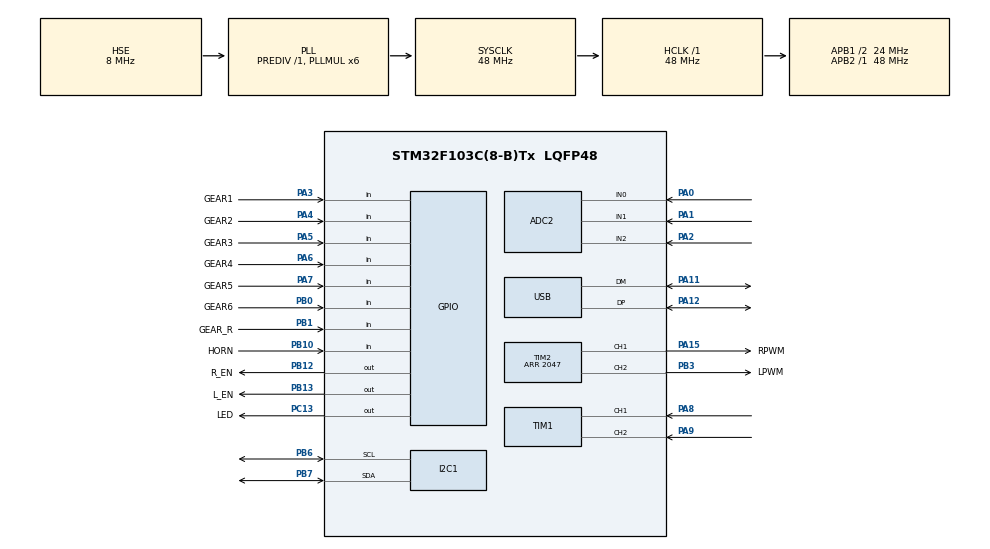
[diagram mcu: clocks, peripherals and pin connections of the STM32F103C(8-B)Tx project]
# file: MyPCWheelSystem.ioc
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ADC2.Channel-1\#ChannelInjectedConversion=ADC_CHANNEL_0
ADC2.Channel-2\#ChannelInjectedConversion=ADC_CHANNEL_1
ADC2.Channel-3\#ChannelInjectedConversion=ADC_CHANNEL_2
ADC2.EnableInjectedConversion=ENABLE
ADC2.EnableRegularConversion=DISABLE
ADC2.InjNumberOfConversion=3
ADC2.InjectedOffset-1\#ChannelInjectedConversion=0
ADC2.InjectedOffset-2\#ChannelInjectedConversion=0
ADC2.InjectedOffset-3\#ChannelInjectedConversion=0
ADC2.Rank-1\#ChannelInjectedConversion=1
ADC2.Rank-2\#ChannelInjectedConversion=2
ADC2.Rank-3\#ChannelInjectedConversion=3
ADC2.SamplingTime-1\#ChannelInjectedConversion=ADC_SAMPLETIME_1CYCLE_5
ADC2.SamplingTime-2\#ChannelInjectedConversion=ADC_SAMPLETIME_1CYCLE_5
ADC2.SamplingTime-3\#ChannelInjectedConversion=ADC_SAMPLETIME_1CYCLE_5
Mcu.Family=STM32F1
Mcu.Name=STM32F103C(8-B)Tx
Mcu.Package=LQFP48
NVIC.PriorityGroup=NVIC_PRIORITYGROUP_4
NVIC.USB_LP_CAN1_RX0_IRQn=true\:0\:0\:false\:false\:true\:false\:true\:true
PA0-WKUP.Signal=ADCx_IN0
PA1.Signal=ADCx_IN1
PA11.Mode=Device
PA11.Signal=USB_DM
PA12.Mode=Device
PA12.Signal=USB_DP
PA13.Mode=Serial_Wire
PA13.Signal=SYS_JTMS-SWDIO
PA14.Mode=Serial_Wire
PA14.Signal=SYS_JTCK-SWCLK
PA15.GPIO_Label=RPWM
PA15.Signal=S_TIM2_CH1_ETR
PA2.Signal=ADCx_IN2
PA3.GPIO_Label=GEAR1
PA3.GPIO_PuPd=GPIO_PULLUP
PA3.Signal=GPIO_Input
PA4.GPIO_Label=GEAR2
PA4.GPIO_PuPd=GPIO_PULLUP
PA4.Signal=GPIO_Input
PA5.GPIO_Label=GEAR3
PA5.GPIO_PuPd=GPIO_PULLUP
PA5.Signal=GPIO_Input
PA6.GPIO_Label=GEAR4
PA6.GPIO_PuPd=GPIO_PULLUP
PA6.Signal=GPIO_Input
PA7.GPIO_Label=GEAR5
PA7.GPIO_PuPd=GPIO_PULLUP
PA7.Signal=GPIO_Input
PA8.Signal=S_TIM1_CH1
PA9.Signal=S_TIM1_CH2
PB0.GPIO_Label=GEAR6
PB0.GPIO_PuPd=GPIO_PULLUP
PB0.Signal=GPIO_Input
PB1.GPIO_Label=GEAR_R
PB1.GPIO_PuPd=GPIO_PULLUP
PB1.Signal=GPIO_Input
PB10.GPIO_Label=HORN
PB10.GPIO_PuPd=GPIO_PULLUP
PB10.Signal=GPIO_Input
PB12.GPIO_Label=R_EN
PB12.Signal=GPIO_Output
PB13.GPIO_Label=L_EN
PB13.Signal=GPIO_Output
PB3.GPIO_Label=LPWM
PB3.Signal=S_TIM2_CH2
PB6.GPIO_Pu=GPIO_PULLUP
PB6.Mode=I2C
PB6.Signal=I2C1_SCL
PB7.GPIO_Pu=GPIO_PULLUP
PB7.Mode=I2C
PB7.Signal=I2C1_SDA
PC13-TAMPER-RTC.GPIO_Label=LED
PC13-TAMPER-RTC.Signal=GPIO_Output
PD0-OSC_IN.Mode=HSE-External-Oscillator
PD0-OSC_IN.Signal=RCC_OSC_IN
PD1-OSC_OUT.Mode=HSE-External-Oscillator
PD1-OSC_OUT.Signal=RCC_OSC_OUT
ProjectManager.HeapSize=0x200
ProjectManager.StackSize=0x400
ProjectManager.TargetToolchain=STM32CubeIDE
RCC.ADCPresc=RCC_ADCPCLK2_DIV4
RCC.AHBFreq_Value=48000000
RCC.APB1CLKDivider=RCC_HCLK_DIV2
RCC.APB1Freq_Value=24000000
RCC.APB1TimFreq_Value=48000000
RCC.APB2Freq_Value=48000000
RCC.APB2TimFreq_Value=48000000
RCC.HCLKFreq_Value=48000000
RCC.PLLMUL=RCC_PLL_MUL6
RCC.SYSCLKFreq_VALUE=48000000
RCC.SYSCLKSource=RCC_SYSCLKSOURCE_PLLCLK
RCC.USBFreq_Value=48000000
SH.ADCx_IN0.0=ADC2_IN0,IN0
SH.ADCx_IN1.0=ADC2_IN1,IN1
SH.ADCx_IN2.0=ADC2_IN2,IN2
SH.S_TIM1_CH1.0=TIM1_CH1,Encoder_Interface
SH.S_TIM1_CH2.0=TIM1_CH2,Encoder_Interface
SH.S_TIM2_CH1_ETR.0=TIM2_CH1,PWM Generation1 CH1
SH.S_TIM2_CH2.0=TIM2_CH2,PWM Generation2 CH2
TIM1.EncoderMode=TIM_ENCODERMODE_TI12
TIM1.IC1Filter=10
TIM2.Channel-PWM\ Generation1\ CH1=TIM_CHANNEL_1
TIM2.Channel-PWM\ Generation2\ CH2=TIM_CHANNEL_2
TIM2.Period=2047
USB_DEVICE.CLASS_NAME_FS=CUSTOM_HID
USB_DEVICE.MANUFACTURER_STRING=Andreas Erfurt
USB_DEVICE.VirtualMode=CustomHid
USB_DEVICE.VirtualModeFS=Custom_Hid_FS
VP_TIM2_VS_ClockSourceINT.Mode=Internal
VP_USB_DEVICE_VS_USB_DEVICE_CUSTOM_HID_FS.Mode=CUSTOM_HID_FS
board=custom

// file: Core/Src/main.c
/* USER CODE BEGIN Header */
/**
  ******************************************************************************
  * @file           : main.c
  * @brief          : Main program body
  ******************************************************************************
  * @attention
  *
  * <h2><center>&copy; Copyright (c) 2021 STMicroelectronics.
  * All rights reserved.</center></h2>
  *
  * This software component is licensed by ST under Ultimate Liberty license
  * SLA0044, the "License"; You may not use this file except in compliance with
  * the License. You may obtain a copy of the License at:
  *                             www.st.com/SLA0044
  *
  ******************************************************************************
  */

//										                	NACH JEDER ÄNDERUNG DER IOC-DATEI DIE WERTE IN usbd_conf.h KORRIGIEREN!!!

/* USER CODE END Header */
#include "main.h"
#include "adc.h"
#include "i2c.h"
#include "tim.h"
#include "usb_device.h"
#include "gpio.h"

/* USER CODE BEGIN Includes */
#include "usbd_customhid.h"
#include "pcf8574events.h"
#include "forcefeedback.h"
/* USER CODE END Includes */

/* USER CODE BEGIN PV */
//volatile char btn_action = 0;
//volatile char gear1 = 0;

extern USBD_HandleTypeDef hUsbDeviceFS;
extern TIM_HandleTypeDef htim1;
extern TIM_HandleTypeDef htim2;
extern ADC_HandleTypeDef hadc2;
extern I2C_HandleTypeDef hi2c1;
/* USER CODE END PV */

void SystemClock_Config(void);
/* USER CODE BEGIN PFP */
int16_t xToDegree(int x);
uint16_t degreeToX(int16_t degree);
void initLED(void);
void toggleLED(void);
/* USER CODE END PFP */

int main(void)
{
  /* USER CODE BEGIN 1 */
	struct pc_wheel_report_t
	{
		uint8_t report_id;

		uint8_t wheelX_LO;
		uint8_t wheelX_HI;

		uint8_t accelRx_LO;
		uint8_t accelRx_HI;

		uint8_t brakeRy_LO;
		uint8_t brakeRy_HI;

		uint8_t clutchRz_LO;
		uint8_t clutchRz_HI;

		uint8_t buttons_1;
		uint8_t buttons_2;
	};

	uint16_t wheelValue = 0;

	uint16_t gasdata_origin = 0;
	uint16_t brakedata_origin = 0;
	uint16_t clutchdata_origin = 0;
	uint16_t gasdata = 0;  // 12 bit adc
	uint16_t brakedata = 0;  // 12 bit adc
	uint16_t clutchdata = 0;  // 12 bit adc

	uint8_t pcf_data = 0x00;
	uint8_t pcf_data_old = 0x00;
	uint8_t wiper = 0;
	uint8_t wiper_old = 0;
	uint8_t wiper_increment = 0;

  /* USER CODE END 1 */

  /* MCU Configuration--------------------------------------------------------*/

  /* Reset of all peripherals, Initializes the Flash interface and the Systick. */
  HAL_Init();

  /* USER CODE BEGIN Init */
  initLED();
  /* USER CODE END Init */

  /* Configure the system clock */
  SystemClock_Config();

  /* Initialize all configured peripherals */
  MX_GPIO_Init();
  MX_USB_DEVICE_Init();
  MX_ADC2_Init();
  MX_TIM1_Init();
  MX_TIM2_Init();
  MX_I2C1_Init();
  /* USER CODE BEGIN 2 */
//  SET_BIT(GPIOC->ODR, GPIO_ODR_ODR13);

  struct pc_wheel_report_t myPCWheelReport;
  myPCWheelReport.report_id = 0x01;
  myPCWheelReport.wheelX_LO = 0;
  myPCWheelReport.wheelX_HI = 0;
  myPCWheelReport.accelRx_LO = 0;
  myPCWheelReport.accelRx_HI = 0;
  myPCWheelReport.brakeRy_LO = 0;
  myPCWheelReport.brakeRy_HI = 0;
  myPCWheelReport.clutchRz_LO = 0;
  myPCWheelReport.clutchRz_HI = 0;
  myPCWheelReport.buttons_1 = 0;
  myPCWheelReport.buttons_2 = 0;

  HAL_TIM_Encoder_Start(&htim1, TIM_CHANNEL_ALL);  // Timer für Lenkrad-Encoder

  TIM1->CNT = 5000;  // Encoder Reset Mittelpunkt

  // Gas, Bremse, Kupplung Reset
  HAL_ADCEx_InjectedStart(&hadc2);
  HAL_ADCEx_InjectedPollForConversion(&hadc2, 100);
  gasdata_origin = HAL_ADCEx_InjectedGetValue(&hadc2, ADC_INJECTED_RANK_1);
  brakedata_origin = HAL_ADCEx_InjectedGetValue(&hadc2, ADC_INJECTED_RANK_2);
  clutchdata_origin = HAL_ADCEx_InjectedGetValue(&hadc2, ADC_INJECTED_RANK_3);
  HAL_ADCEx_InjectedStop(&hadc2);

  // PCF8574 auf 0 setzen
  HAL_I2C_Master_Transmit(&hi2c1, 0x20 << 1, &pcf_data, 1, 200);

  // FFB initialisieren
  HAL_TIM_PWM_Start(&htim2, TIM_CHANNEL_1); // PWM aktivieren
  HAL_TIM_PWM_Start(&htim2, TIM_CHANNEL_2);
  ffb_init();
  /* USER CODE END 2 */

  /* Infinite loop */
  while (1)
  {

    /* USER CODE BEGIN 3 */

	  // Lenkrad

	  wheelValue = (uint16_t) TIM1->CNT;

	  if (wheelValue > 35000)
		  wheelValue = 0;
	  if (wheelValue > 10000 && wheelValue <= 35000)
		  wheelValue = 10000;

	  myPCWheelReport.wheelX_LO = LOBYTE(wheelValue);
	  myPCWheelReport.wheelX_HI = HIBYTE(wheelValue);

	  // Gas, Bremse, Kupplung
	  HAL_ADCEx_InjectedStart(&hadc2);
	  HAL_ADCEx_InjectedPollForConversion(&hadc2, 100);

	  gasdata = gasdata_origin - (uint16_t) HAL_ADCEx_InjectedGetValue(&hadc2, ADC_INJECTED_RANK_1);
	  brakedata = (uint16_t) HAL_ADCEx_InjectedGetValue(&hadc2, ADC_INJECTED_RANK_2) - brakedata_origin;
	  clutchdata = clutchdata_origin - (uint16_t) HAL_ADCEx_InjectedGetValue(&hadc2, ADC_INJECTED_RANK_3);

	  if (gasdata > 6000)
		  gasdata = 0;
	  if (brakedata > 6000)
		  brakedata = 0;
	  if (clutchdata > 6000)
		  clutchdata = 0;

	  gasdata *= 1.6;
	  brakedata *= 2;
	  clutchdata *=2.6;

	  HAL_ADCEx_InjectedStop(&hadc2);

//	  gasdata *= 1.5;
//	  clutchdata *= 2;

	  myPCWheelReport.accelRx_LO = LOBYTE(gasdata);
	  myPCWheelReport.accelRx_HI = HIBYTE(gasdata);
	  myPCWheelReport.brakeRy_LO = LOBYTE(brakedata);
	  myPCWheelReport.brakeRy_HI = HIBYTE(brakedata);
	  myPCWheelReport.clutchRz_LO = LOBYTE(clutchdata);
	  myPCWheelReport.clutchRz_HI = HIBYTE(clutchdata);

	  // Blinker, Fernlicht, Scheibenwischer
	  reset_highbeam_blinker_wiper_buttons(&myPCWheelReport.buttons_2);
	  HAL_I2C_Master_Receive(&hi2c1, 0x20 << 1, &pcf_data, 1, 200);
	  repair_pcf8574(&pcf_data, &hi2c1);
	  set_highbeam_blinker_buttons(&myPCWheelReport.buttons_2, pcf_data, pcf_data_old);
	  wiper = get_wiper(pcf_data);
	  pcf_data_old = pcf_data;
	  set_wiper_buttons(&myPCWheelReport.buttons_2, wiper, &wiper_old, &wiper_increment);

	  // Gänge
	  myPCWheelReport.buttons_1 = ~(HAL_GPIO_ReadPin(GEAR1_GPIO_Port, GEAR1_Pin) << 0
			              | HAL_GPIO_ReadPin(GEAR2_GPIO_Port, GEAR2_Pin) << 1
						  | HAL_GPIO_ReadPin(GEAR3_GPIO_Port, GEAR3_Pin) << 2
						  | HAL_GPIO_ReadPin(GEAR4_GPIO_Port, GEAR4_Pin) << 3
						  | HAL_GPIO_ReadPin(GEAR5_GPIO_Port, GEAR5_Pin) << 4
						  | HAL_GPIO_ReadPin(GEAR6_GPIO_Port, GEAR6_Pin) << 5
						  | HAL_GPIO_ReadPin(GEAR_R_GPIO_Port, GEAR_R_Pin) << 6
						  | HAL_GPIO_ReadPin(HORN_GPIO_Port, HORN_Pin) << 7);

	  USBD_CUSTOM_HID_SendReport(&hUsbDeviceFS, (uint8_t*) &myPCWheelReport, sizeof(myPCWheelReport));
	  HAL_Delay(25);

	  ffb_play_effects();
  }  // end while loop
  /* USER CODE END 3 */
}

void SystemClock_Config(void)
{
  RCC_OscInitTypeDef RCC_OscInitStruct = {0};
  RCC_ClkInitTypeDef RCC_ClkInitStruct = {0};
  RCC_PeriphCLKInitTypeDef PeriphClkInit = {0};

  /** Initializes the RCC Oscillators according to the specified parameters
  * in the RCC_OscInitTypeDef structure.
  */
  RCC_OscInitStruct.OscillatorType = RCC_OSCILLATORTYPE_HSE;
  RCC_OscInitStruct.HSEState = RCC_HSE_ON;
  RCC_OscInitStruct.HSEPredivValue = RCC_HSE_PREDIV_DIV1;
  RCC_OscInitStruct.HSIState = RCC_HSI_ON;
  RCC_OscInitStruct.PLL.PLLState = RCC_PLL_ON;
  RCC_OscInitStruct.PLL.PLLSource = RCC_PLLSOURCE_HSE;
  RCC_OscInitStruct.PLL.PLLMUL = RCC_PLL_MUL6;
  if (HAL_RCC_OscConfig(&RCC_OscInitStruct) != HAL_OK)
  {
    Error_Handler();
  }
  /** Initializes the CPU, AHB and APB buses clocks
  */
  RCC_ClkInitStruct.ClockType = RCC_CLOCKTYPE_HCLK|RCC_CLOCKTYPE_SYSCLK
                              |RCC_CLOCKTYPE_PCLK1|RCC_CLOCKTYPE_PCLK2;
  RCC_ClkInitStruct.SYSCLKSource = RCC_SYSCLKSOURCE_PLLCLK;
  RCC_ClkInitStruct.AHBCLKDivider = RCC_SYSCLK_DIV1;
  RCC_ClkInitStruct.APB1CLKDivider = RCC_HCLK_DIV2;
  RCC_ClkInitStruct.APB2CLKDivider = RCC_HCLK_DIV1;

  if (HAL_RCC_ClockConfig(&RCC_ClkInitStruct, FLASH_LATENCY_1) != HAL_OK)
  {
    Error_Handler();
  }
  PeriphClkInit.PeriphClockSelection = RCC_PERIPHCLK_ADC|RCC_PERIPHCLK_USB;
  PeriphClkInit.AdcClockSelection = RCC_ADCPCLK2_DIV4;
  PeriphClkInit.UsbClockSelection = RCC_USBCLKSOURCE_PLL;
  if (HAL_RCCEx_PeriphCLKConfig(&PeriphClkInit) != HAL_OK)
  {
    Error_Handler();
  }
}

/* USER CODE BEGIN 4 */

int16_t xToDegree(int x)    // x: -2^31...2^31-1, degree: -450...450
{
	return (int16_t) (x * 0.01373 - 450);         // denn 900/65535 = 0,01373
}

uint16_t degreeToX(int16_t degree)    // degree: -2^15...2^15-1, x: 0...65535
{
	return (uint16_t) ((degree + 450) * 72.81667);        // denn 65535/900 = 72,81667
}

void initLED(void)
{
	SET_BIT(RCC->APB2ENR, RCC_APB2ENR_IOPCEN);          //enable IO port C clock

	CLEAR_BIT(GPIOC->CRH, GPIO_CRH_CNF13_1);          //General purpose output push-pull
	CLEAR_BIT(GPIOC->CRH, GPIO_CRH_CNF13_0);

	SET_BIT(GPIOC->CRH, GPIO_CRH_MODE13_1);           //output mode, max speed 2 MHz
	CLEAR_BIT(GPIOC->CRH, GPIO_CRH_MODE13_0);

	SET_BIT(GPIOC->ODR, GPIO_ODR_ODR13);             //LED off
}

void toggleLED(void)
{
	if(READ_BIT(GPIOC->ODR, GPIO_ODR_ODR13) == 0)
	{
		SET_BIT(GPIOC->ODR, GPIO_ODR_ODR13);
	}
	else
	{
		CLEAR_BIT(GPIOC->ODR, GPIO_ODR_ODR13);
	}
}

//void HAL_GPIO_EXTI_Callback(uint16_t GPIO_Pin)
//{
//	if(GPIO_Pin == GEAR1_Pin)
//	{
//		if(!btn_action)
//		{
//			btn_action = 1;
//			__HAL_TIM_SET_COUNTER(&htim2, 0);
//		}
//	}
//}

//void HAL_TIM_PeriodElapsedCallback(TIM_HandleTypeDef *htim)
//{
//	if (htim == &htim2) //for button debounce, runs every 10 ms and 10 ms after valid edge
//	{
//		if(btn_action && !HAL_GPIO_ReadPin(GEAR1_GPIO_Port, GEAR1_Pin))    //valid rising edge
//		{
//			gear1 = 1;
//			CLEAR_BIT(GPIOC->ODR, GPIO_ODR_ODR13);
//			btn_action = 0;
//		}
//		else if(btn_action && HAL_GPIO_ReadPin(GEAR1_GPIO_Port, GEAR1_Pin))    //valid falling edge
//		{
//			gear1 = 0;
//			SET_BIT(GPIOC->ODR, GPIO_ODR_ODR13);
//			btn_action = 0;
//		}
//	}
//
////	if (htim == &htim3) // for PCF8574 events
////	{
////
////	}
//}

/* USER CODE END 4 */

void Error_Handler(void)
{
}

/************************ (C) COPYRIGHT STMicroelectronics *****END OF FILE****/
